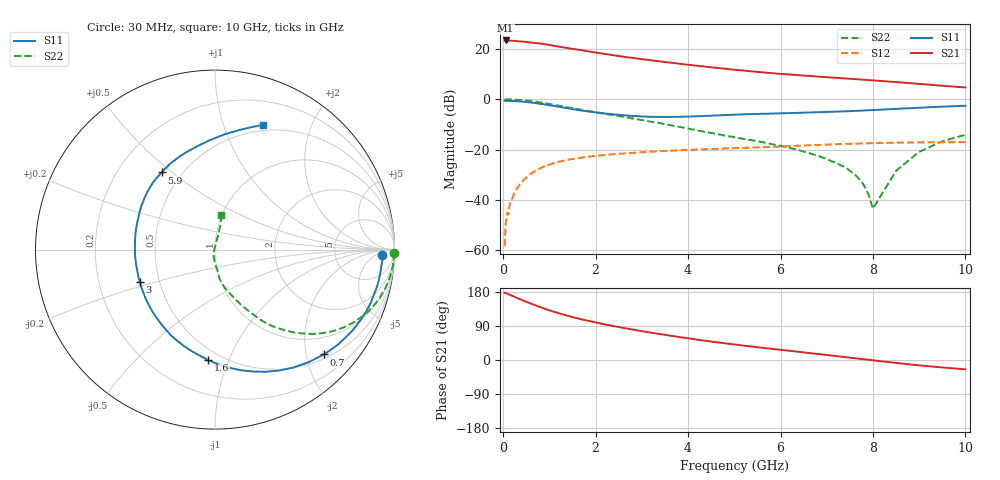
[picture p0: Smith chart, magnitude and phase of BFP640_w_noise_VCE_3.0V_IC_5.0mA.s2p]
! Infineon Technologies  Discrete & RF Semiconductors
! BFP640
! VCE =  3.0 V,  IC =  5.0 mA
! Common Emitter S-Parameters:  Apr 2013
# GHz  S  MA  R  50
!  f  S11  S21  S12  S22
! GHz  MAG  ANG  MAG  ANG  MAG  ANG  MAG  ANG
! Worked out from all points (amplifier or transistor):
!   99 points, 30 MHz to 10 GHz, reference 50 ohm
!   highest |S21| = 23.4 dB at 50 MHz (marker M1)
!   |S21| within 3 dB of that: start of sweep to 1.385 GHz
!   unconditionally stable (mu >= 1): 4.965 GHz to end of sweep
!   at 350 MHz: K = 0.08, MSG = 28.6 dB, |S12| = -34.1 dB
!   at 3.5 GHz: K = 0.83, MSG = 17.7 dB, |S12| = -20.5 dB
!   at 10 GHz: K = 1.15, MAG = 8.5 dB, |S12| = -17.0 dB
!   lowest NFmin = 0.54 dB at 450 MHz
!   S11 on the Smith chart (normalised r, x): 30 MHz: 23, -11; 700 MHz: 0.59, -2.36; 1.6 GHz: 0.43, -0.85; 3 GHz: 0.39, -0.18; 5.9 GHz: 0.39, +0.46; 10 GHz: 0.44, +1.36
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0.03  0.933 -1.9  14.71 177.7  0.0012 72.9  0.9976 -1.1
0.05  0.9361 -3.2  14.82 177.1  0.0031 99.4  0.9961 -1.8
0.15  0.9293 -9.7  14.73 171.7  0.0086 86.6  0.994 -5.6
0.4  0.9024 -25.5  14.14 158.6  0.0226 77.2  0.962 -14.9
0.5  0.8849 -31.7  13.87 153.6  0.0278 74.0  0.9434 -18.6
0.7  0.8426 -43.9  13.14 144.2  0.0381 67.1  0.8953 -25.1
0.8  0.816 -50.2  12.86 139.5  0.0425 63.8  0.8662 -28.3
1  0.7641 -61.8  12.05 131.1  0.0505 57.6  0.8065 -34.0
1.3  0.6875 -77.9  10.78 120.0  0.0598 50.0  0.7189 -40.8
1.6  0.6171 -93.4  9.767 110.2  0.0671 44.3  0.6421 -46.1
1.7  0.5958 -98.5  9.461 107.1  0.0694 42.7  0.618 -47.5
2.3  0.5103 -126.4  7.738 91.5  0.0797 34.3  0.4967 -55.3
3  0.4562 -156.5  6.299 76.2  0.0886 27.0  0.3871 -61.5
3.4  0.4464 -172.7  5.667 68.2  0.0932 23.7  0.3342 -65.2
4.2  0.4602 159.6  4.654 53.7  0.1004 17.6  0.2405 -73.2
5.1  0.4982 137.9  3.806 39.4  0.1075 12.0  0.1692 -80.7
5.9  0.5232 124.7  3.266 28.3  0.1142 7.8  0.1235 -82.9
6.7  0.5499 112.8  2.881 17.3  0.1228 2.9  0.0805 -88.3
7.6  0.5873 98.6  2.526 4.8  0.1313 -3.5  0.0328 -103.2
8  0.6113 92.4  2.381 -0.8  0.1342 -6.4  0.0067 -137.7
8.5  0.6457 85.0  2.203 -7.7  0.1374 -10.2  0.0379 80.7
10  0.7443 69.0  1.722 -24.6  0.1406 -19.4  0.1967 79.4
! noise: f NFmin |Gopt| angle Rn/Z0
0.45  0.54  0.45  12  0.1
0.9  0.56  0.45  21  0.1
1.5  0.59  0.39  33  0.1
1.9  0.64  0.34  51  0.1
2.4  0.69  0.31  58  0.1
3.5  0.84  0.26  84  0.09
5.5  1.1  0.28  -156  0.11
10  1.81  0.63  -65  0.45
